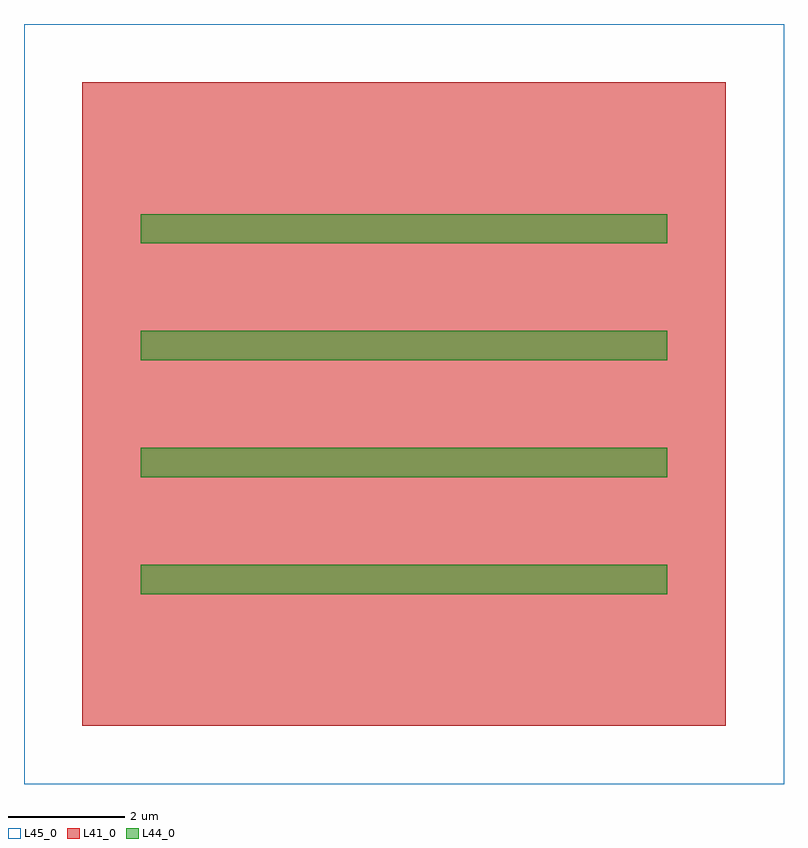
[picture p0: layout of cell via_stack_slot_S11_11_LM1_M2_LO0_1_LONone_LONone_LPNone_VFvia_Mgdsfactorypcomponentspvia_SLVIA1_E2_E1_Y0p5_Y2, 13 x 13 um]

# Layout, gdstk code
import gdstk
lib = gdstk.Library(unit=1e-6, precision=1e-09)
def R(c, l, rs):  # rectangles x0, y0, x1, y1
    for r in rs: c.add(gdstk.rectangle(r[:2], r[2:], *l))
L41_0 = (41, 0)
L44_0 = (44, 0)
L45_0 = (45, 0)

compass_s11_11_lm1_ptele = lib.new_cell('compass_S11_11_LM1_PTelectrical_PI0_PO180_90_0_m90')
R(compass_s11_11_lm1_ptele, L41_0, [(-5.5,-5.5,5.5,5.5)])

compass_s13_13_lm2_ptele = lib.new_cell('compass_S13_13_LM2_PTelectrical_PI0_PO180_90_0_m90')
R(compass_s13_13_lm2_ptele, L45_0, [(-6.5,-6.5,6.5,6.5)])

via_s9_0p5_s2_2_gnone_e2 = lib.new_cell('via_S9_0p5_S2_2_GNone_E2_LVIA1_BLNone_BO0')
R(via_s9_0p5_s2_2_gnone_e2, L44_0, [(-4.5,-0.25,4.5,0.25)])

via_stack_slot_s11_11_lm = lib.new_cell('via_stack_slot_S11_11_LM1_M2_LO0_1_LONone_LONone_LPNone_VFvia_Mgdsfactorypcomponentspvia_SLVIA1_E2_E1_Y0p5_Y2')
via_stack_slot_s11_11_lm.add(gdstk.Reference(compass_s11_11_lm1_ptele, (0,0)))
via_stack_slot_s11_11_lm.add(gdstk.Reference(compass_s13_13_lm2_ptele, (0,0)))
r = gdstk.Reference(via_s9_0p5_s2_2_gnone_e2, (0,-3)); r.repetition = gdstk.Repetition(1, 4, v1=(0,0), v2=(0,2)); via_stack_slot_s11_11_lm.add(r)

lib.write_gds('via_stack_slot_S11_11_LM1_M2_LO0_1_LONone_LONone_LPNone_VFvia_Mgdsfactorypcomponentspvia_SLVIA1_E2_E1_Y0p5_Y2.gds')
